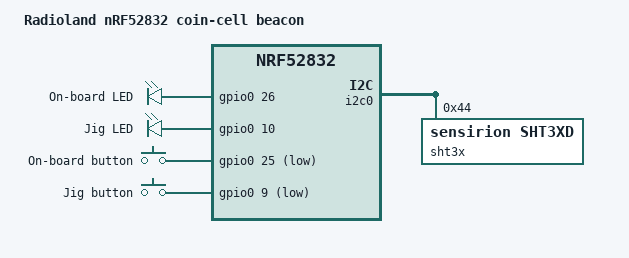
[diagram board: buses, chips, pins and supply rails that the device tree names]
/dts-v1/;
#include <nordic/nrf52832_qfaa.dtsi>
#include "radioland_beacon-pinctrl.dtsi"
#include <zephyr/dt-bindings/input/input-event-codes.h>

/*
 * Pin use follows an-erd/ble_beacon's custom_board.h, which was written for
 * this board. Its README prose has the LED and button swapped; the code is
 * what ran on real hardware.
 */

/ {
	model = "Radioland nRF52832 coin-cell beacon";
	compatible = "radioland,beacon";

	chosen {
		zephyr,sram = &sram0;
		zephyr,flash = &flash0;
		zephyr,code-partition = &slot0_partition;
	};

	leds {
		compatible = "gpio-leds";
		led0: led_0 {
			gpios = <&gpio0 26 GPIO_ACTIVE_HIGH>;
			label = "On-board LED";
		};
		/* Only on the programming jig, wired to NFC pad 4 */
		led1: led_1 {
			gpios = <&gpio0 10 GPIO_ACTIVE_HIGH>;
			label = "Jig LED";
		};
	};

	buttons {
		compatible = "gpio-keys";
		button0: button_0 {
			gpios = <&gpio0 25 (GPIO_PULL_UP | GPIO_ACTIVE_LOW)>;
			label = "On-board button";
			zephyr,code = <INPUT_KEY_0>;
		};
		/* Only on the programming jig, wired to NFC pad 3 */
		button1: button_1 {
			gpios = <&gpio0 9 (GPIO_PULL_UP | GPIO_ACTIVE_LOW)>;
			label = "Jig button";
			zephyr,code = <INPUT_KEY_1>;
		};
	};

	aliases {
		led0 = &led0;
		led1 = &led1;
		sw0 = &button0;
		sw1 = &button1;
		watchdog0 = &wdt0;
	};
};

/* an-erd's firmware enables DC/DC, so the inductor is fitted. */
&reg {
	regulator-initial-mode = <NRF5X_REG_MODE_DCDC>;
};

/* P0.09 / P0.10 carry the jig's button and LED instead of the NFC antenna. */
&uicr {
	nfct-pins-as-gpios;
};

&gpiote {
	status = "okay";
};

&gpio0 {
	status = "okay";
	/* Buttons wake through PORT sense; a GPIOTE IN channel would draw current all the time. */
	sense-edge-mask = <((1 << 9) | (1 << 25))>;
};

&i2c0 {
	status = "okay";
	pinctrl-0 = <&i2c0_default>;
	pinctrl-1 = <&i2c0_sleep>;
	pinctrl-names = "default", "sleep";

	sht3x: sht3xd@44 {
		compatible = "sensirion,sht3xd";
		reg = <0x44>;
	};

	/* KX022 accelerometer at 0x1E on some units; Zephyr has no driver for it. */
};

&flash0 {
	partitions {
		ranges;
		#address-cells = <1>;
		#size-cells = <1>;

		boot_partition: partition@0 {
			compatible = "zephyr,mapped-partition";
			label = "mcuboot";
			reg = <0x00000000 0xc000>;
		};
		slot0_partition: partition@c000 {
			compatible = "zephyr,mapped-partition";
			label = "image-0";
			reg = <0x0000c000 0x37000>;
		};
		slot1_partition: partition@43000 {
			compatible = "zephyr,mapped-partition";
			label = "image-1";
			reg = <0x00043000 0x37000>;
		};
		storage_partition: partition@7a000 {
			compatible = "zephyr,mapped-partition";
			label = "storage";
			reg = <0x0007a000 0x00006000>;
		};
	};
};
